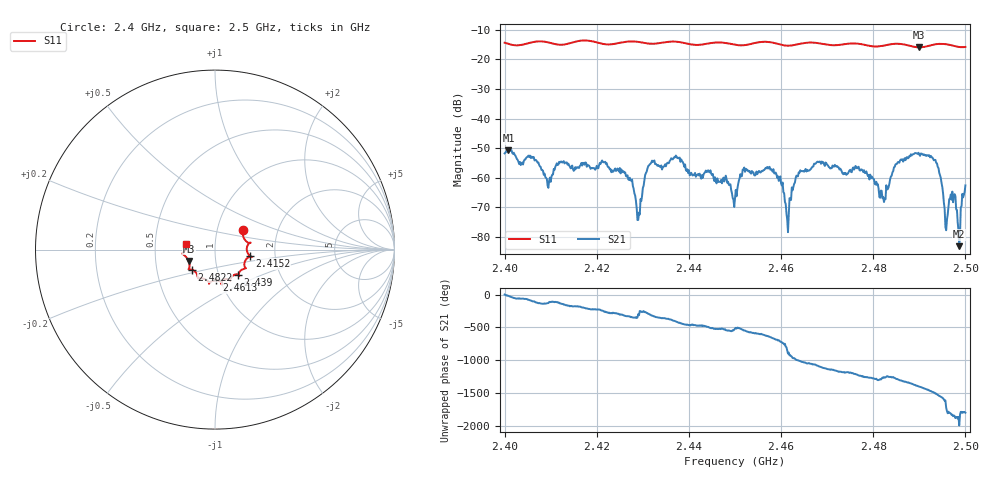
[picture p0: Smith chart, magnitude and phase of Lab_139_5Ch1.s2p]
# Hz S RI R 50
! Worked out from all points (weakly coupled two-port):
!   601 points, 2.4 GHz to 2.5 GHz, reference 50 ohm
!   highest |S21| = -50.67 dB at 2.4008 GHz (marker M1); lowest = -83.1 dB at 2.4987 GHz (marker M2)
!   lowest |S11| = -15.9 dB at 2.49 GHz (marker M3), VSWR 1.38, Z = 36.9 - j4.85 ohm
!   |S11| at or under -10 dB: start of sweep to end of sweep
!   S12 and S22 are empty: the file has one direction only
!   S11 on the Smith chart (normalised r, x): 2.4 GHz: 1.33, +0.31; 2.4152 GHz: 1.48, -0.11; 2.439 GHz: 1.24, -0.36; 2.4613 GHz: 0.96, -0.34; 2.4822 GHz: 0.76, -0.17; 2.5 GHz: 0.72, +0.05
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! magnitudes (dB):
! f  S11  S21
! 2.4 GHz  -14.3  -51.8
! 2.4008 GHz  -14.7  -50.7
! 2.4095 GHz  -14.3  -63.4
! 2.4152 GHz  -14.1  -57.4
! 2.4167 GHz  -13.6  -55.0
! 2.4258 GHz  -14.1  -57.9
! 2.4292 GHz  -14.1  -71.8
! 2.431 GHz  -14.6  -56.9
! 2.4333 GHz  -14.5  -55.7
! 2.439 GHz  -14.4  -56.3
! 2.45 GHz  -15.0  -66.8
! 2.4575 GHz  -14.1  -56.3
! 2.4613 GHz  -15.4  -74.2
! 2.4667 GHz  -14.3  -56.5
! 2.4822 GHz  -15.4  -66.6
! 2.4833 GHz  -15.0  -63.2
! 2.49 GHz  -15.9  -52.2
! 2.4933 GHz  -14.9  -54.0
! 2.4957 GHz  -14.8  -76.7
! 2.4973 GHz  -15.4  -68.3
! 2.4987 GHz  -15.8  -83.1
! 2.5 GHz  -15.8  -62.6
